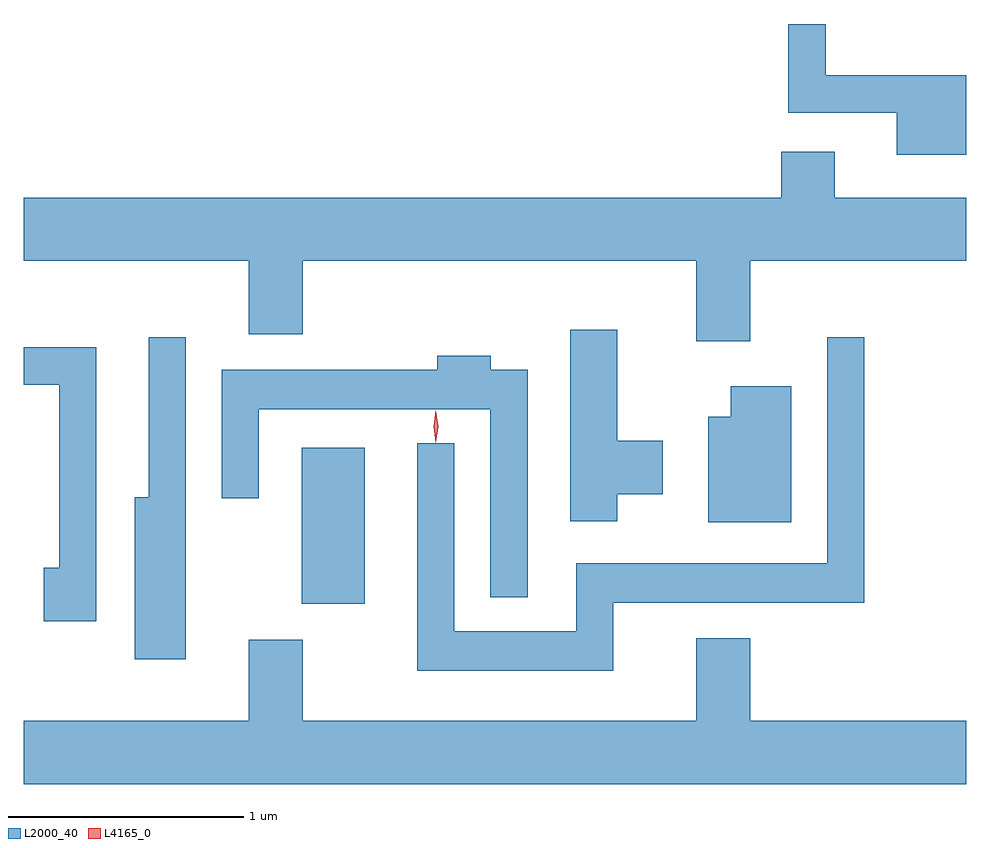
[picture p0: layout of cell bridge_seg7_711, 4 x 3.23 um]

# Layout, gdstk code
import gdstk
lib = gdstk.Library(unit=1e-6, precision=1e-09)
def R(c, l, rs):  # rectangles x0, y0, x1, y1
    for r in rs: c.add(gdstk.rectangle(r[:2], r[2:], *l))
def P(c, l, *ps):  # polygons
    for p in ps: c.add(gdstk.Polygon(p, *l))
L2000_40 = (2000, 40)
L4165_0 = (4165, 0)

bridge_seg7_711 = lib.new_cell('bridge_seg7_711')
R(bridge_seg7_711, L2000_40, [(607.466,1803.881,607.734,1804.544), (609.833,1806.341,610.286,1806.342)])
P(bridge_seg7_711, L2000_40, [(610.286,1806.124),(609.689,1806.124),(609.689,1806.342),(609.531,1806.342),(609.531,1805.966),(609.991,1805.966),(609.991,1805.786),(610.286,1805.786)],
  [(609.369,1805.336),(610.286,1805.336),(610.286,1805.604),(609.729,1805.604),(609.729,1805.799),(609.501,1805.799),(609.501,1805.604),(606.286,1805.604),(606.286,1805.336),(607.241,1805.336),(607.241,1805.026),(607.469,1805.026),(607.469,1805.336),(609.141,1805.336),(609.141,1804.996),(609.369,1804.996)],
  [(608.804,1804.346),(608.999,1804.346),(608.999,1804.574),(608.804,1804.574),(608.804,1805.044),(608.606,1805.044),(608.606,1804.231),(608.804,1804.231)],
  [(608.789,1803.886),(609.854,1803.886),(609.854,1805.013),(609.696,1805.013),(609.696,1804.054),(608.631,1804.054),(608.631,1803.764),(608.114,1803.764),(608.114,1804.563),(607.956,1804.563),(607.956,1803.596),(608.789,1803.596)],
  [(606.974,1805.013),(606.816,1805.013),(606.816,1804.334),(606.756,1804.334),(606.756,1803.646),(606.974,1803.646)],
  [(606.594,1804.969),(606.286,1804.969),(606.286,1804.811),(606.436,1804.811),(606.436,1804.034),(606.371,1804.034),(606.371,1803.806),(606.594,1803.806)],
  [(608.424,1804.874),(608.269,1804.874),(608.269,1804.934),(608.041,1804.934),(608.041,1804.874),(607.126,1804.874),(607.126,1804.328),(607.284,1804.328),(607.284,1804.706),(608.266,1804.706),(608.266,1803.908),(608.424,1803.908)],
  [(609.544,1804.804),(609.286,1804.804),(609.286,1804.674),(609.191,1804.674),(609.191,1804.226),(609.544,1804.226)],
  [(610.286,1803.384),(609.369,1803.384),(609.369,1803.734),(609.141,1803.734),(609.141,1803.384),(607.469,1803.384),(607.469,1803.729),(607.241,1803.729),(607.241,1803.384),(606.286,1803.384),(606.286,1803.116),(610.286,1803.116)])
P(bridge_seg7_711, L4165_0, [(608.035,1804.563),(608.034,1804.564),(608.025,1804.633),(608.034,1804.702),(608.035,1804.703),(608.035,1804.702),(608.045,1804.633),(608.035,1804.564)],
  [(608.035,1804.567),(608.034,1804.568),(608.025,1804.634),(608.034,1804.7),(608.035,1804.701),(608.035,1804.7),(608.045,1804.634),(608.035,1804.568)])

lib.write_gds('bridge_seg7_711.gds')
